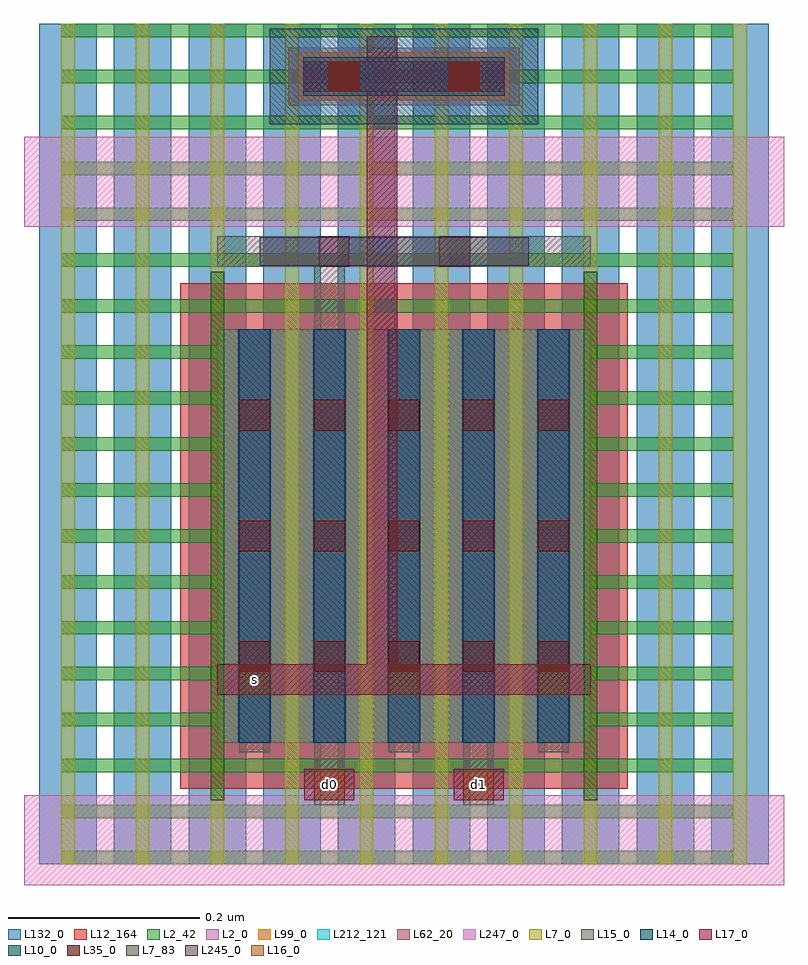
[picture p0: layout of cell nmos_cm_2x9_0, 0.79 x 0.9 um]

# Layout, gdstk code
import gdstk
lib = gdstk.Library(unit=1e-6, precision=1e-12)
def R(c, l, rs):  # rectangles x0, y0, x1, y1
    for r in rs: c.add(gdstk.rectangle(r[:2], r[2:], *l))
def A(c, l, x, y, w, h, nx, ny, dx, dy):  # array of equal rectangles
    R(c, l, [(x+i*dx, y+j*dy, x+i*dx+w, y+j*dy+h) for i in range(nx) for j in range(ny)])
L2_0 = (2, 0)
L2_42 = (2, 42)
L7_0 = (7, 0)
L7_83 = (7, 83)
L10_0 = (10, 0)
L12_164 = (12, 164)
L14_0 = (14, 0)
L15_0 = (15, 0)
L16_0 = (16, 0)
L17_0 = (17, 0)
L35_0 = (35, 0)
L62_20 = (62, 20)
L99_0 = (99, 0)
L132_0 = (132, 0)
L212_121 = (212, 121)
L245_0 = (245, 0)
L247_0 = (247, 0)

nmos_cm_2x9_0 = lib.new_cell('nmos_cm_2x9_0')
R(nmos_cm_2x9_0, L2_0, [(0.186,0.127,0.576,0.559), (0.2606,0.793,0.5014,0.853)])
A(nmos_cm_2x9_0, L2_42, 0.023, 0, 0.702, 0.014, 1, 19, 0, 0.048)
A(nmos_cm_2x9_0, L7_0, 0.023, 0, 0.014, 0.878, 10, 1, 0.078, 0)
R(nmos_cm_2x9_0, L7_83, [(0.179,0.067,0.193,0.619), (0.569,0.067,0.583,0.619)])
R(nmos_cm_2x9_0, L10_0, [(0.2406,0.773,0.5214,0.873)])
R(nmos_cm_2x9_0, L12_164, [(0.147,0.079,0.615,0.607)])
A(nmos_cm_2x9_0, L14_0, 0.208, 0.127, 0.034, 0.432, 5, 1, 0.078, 0)
R(nmos_cm_2x9_0, L14_0, [(0.2756,0.803,0.4864,0.843)])
A(nmos_cm_2x9_0, L15_0, 0.209, 0.117, 0.032, 0.442, 5, 1, 0.078, 0)
R(nmos_cm_2x9_0, L15_0, [(0.287,0.062,0.319,0.122), (0.443,0.062,0.475,0.122), (0.287,0.559,0.319,0.624), (0.186,0.624,0.576,0.656), (0.2756,0.807,0.4864,0.839)])
A(nmos_cm_2x9_0, L16_0, 0.209, 0.177, 0.032, 0.032, 3, 1, 0.156, 0)
R(nmos_cm_2x9_0, L16_0, [(0.287,0.067,0.319,0.099), (0.443,0.067,0.475,0.099), (0.302,0.807,0.334,0.839), (0.428,0.807,0.46,0.839)])
R(nmos_cm_2x9_0, L17_0, [(0.277,0.067,0.329,0.099), (0.433,0.067,0.485,0.099), (0.186,0.177,0.576,0.209), (0.342,0.177,0.374,0.865), (0.2756,0.807,0.4864,0.839)])
A(nmos_cm_2x9_0, L35_0, 0.209, 0.201, 0.032, 0.032, 5, 3, 0.078, 0.126)
R(nmos_cm_2x9_0, L35_0, [(0.292,0.624,0.324,0.656), (0.418,0.624,0.45,0.656), (0.302,0.807,0.334,0.839), (0.428,0.807,0.46,0.839)])
R(nmos_cm_2x9_0, L62_20, [(0.186,0.127,0.576,0.559)])
R(nmos_cm_2x9_0, L99_0, [(0.186,0.127,0.576,0.559), (0.2706,0.798,0.4914,0.848)])
A(nmos_cm_2x9_0, L132_0, 0, 0, 0.06, 0.878, 10, 1, 0.078, 0)
R(nmos_cm_2x9_0, L212_121, [(0.186,0.127,0.576,0.559)])
R(nmos_cm_2x9_0, L245_0, [(0.2305,0.625,0.5115,0.655)])
R(nmos_cm_2x9_0, L247_0, [(-0.016,-0.022,0.778,0.072), (-0.016,0.666,0.778,0.76)])
nmos_cm_2x9_0.add(gdstk.Label('d0', (0.303,0.083), layer=15, texttype=20))
nmos_cm_2x9_0.add(gdstk.Label('d1', (0.459,0.083), layer=15, texttype=20))
nmos_cm_2x9_0.add(gdstk.Label('s', (0.225,0.193), layer=15, texttype=20))

lib.write_gds('nmos_cm_2x9_0.gds')
